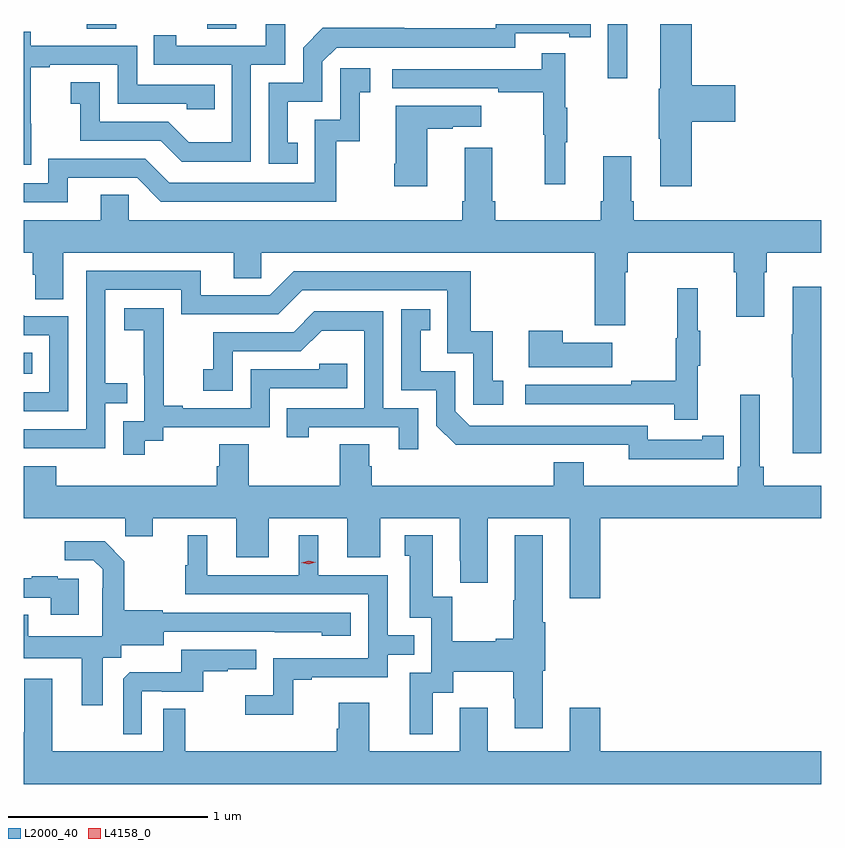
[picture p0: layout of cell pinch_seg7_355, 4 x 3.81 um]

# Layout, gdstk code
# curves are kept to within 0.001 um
import gdstk
lib = gdstk.Library(unit=1e-6, precision=1e-09)
def R(c, l, rs):  # rectangles x0, y0, x1, y1
    for r in rs: c.add(gdstk.rectangle(r[:2], r[2:], *l))
def P(c, l, *ps):  # polygons
    for p in ps: c.add(gdstk.Polygon(p, *l))
L2000_40 = (2000, 40)
L4158_0 = (4158, 0)

pinch_seg7_355 = lib.new_cell('pinch_seg7_355')
R(pinch_seg7_355, L2000_40, [(382.37,1037.306,382.412,1037.41), (385.299,1038.789,385.396,1039.06), (382.685,1039.036,382.833,1039.06), (383.29,1039.036,383.437,1039.06)])
P(pinch_seg7_355, L2000_40, [(383.744,1038.465),(383.695,1038.465),(383.695,1038.669),(383.868,1038.669),(383.868,1038.87),(383.94,1038.942),(384.834,1038.942),(384.834,1039.014),(385.106,1039.014),(385.106,1038.994),(385.214,1038.994),(385.214,1039.06),(384.738,1039.06),(384.738,1039.038),(384.278,1039.038),(384.278,1039.04),(383.87,1039.04),(383.772,1038.942),(383.772,1038.765),(383.598,1038.765),(383.598,1038.36),(383.744,1038.36)],
  [(385.721,1038.569),(385.939,1038.569),(385.939,1038.752),(385.721,1038.752),(385.721,1039.06),(385.562,1039.06),(385.562,1038.735),(385.555,1038.735),(385.555,1038.485),(385.562,1038.485),(385.562,1038.246),(385.721,1038.246)],
  [(383.508,1038.855),(383.682,1038.855),(383.682,1039.06),(383.585,1039.06),(383.585,1038.951),(383.134,1038.951),(383.134,1039.003),(383.023,1039.003),(383.023,1038.855),(383.412,1038.855),(383.412,1038.466),(383.198,1038.466),(383.094,1038.57),(382.752,1038.57),(382.752,1038.769),(382.605,1038.769),(382.605,1038.659),(382.654,1038.659),(382.654,1038.474),(383.057,1038.474),(383.162,1038.369),(383.508,1038.369)],
  [(382.407,1038.559),(382.406,1038.559),(382.406,1038.843),(382.501,1038.843),(382.501,1038.855),(382.842,1038.855),(382.842,1038.66),(383.187,1038.66),(383.187,1038.633),(383.327,1038.633),(383.327,1038.756),(382.938,1038.756),(382.938,1038.951),(382.404,1038.951),(382.404,1039.02),(382.37,1039.02),(382.37,1038.353),(382.407,1038.353)],
  [(385.085,1038.467),(385.096,1038.467),(385.096,1038.641),(385.085,1038.641),(385.085,1038.913),(384.967,1038.913),(384.967,1038.834),(384.219,1038.834),(384.219,1038.738),(384.751,1038.738),(384.751,1038.718),(384.975,1038.718),(384.975,1038.504),(384.982,1038.504),(384.982,1038.255),(385.085,1038.255)],
  [(382.591,1038.288),(382.938,1038.288),(383.058,1038.168),(383.938,1038.168),(383.938,1038.471),(384.056,1038.471),(384.056,1038.717),(384.109,1038.717),(384.109,1038.838),(383.958,1038.838),(383.958,1038.579),(383.829,1038.579),(383.829,1038.264),(383.1,1038.264),(382.98,1038.384),(382.494,1038.384),(382.494,1038.261),(382.37,1038.261),(382.37,1038.165),(382.591,1038.165)],
  [(384.394,1038.535),(384.521,1038.535),(384.521,1038.545),(384.664,1038.545),(384.664,1038.649),(384.236,1038.649),(384.236,1038.358),(384.229,1038.358),(384.229,1038.246),(384.394,1038.246)],
  [(385.387,1037.816),(385.4,1037.816),(385.4,1037.912),(385.931,1037.912),(385.931,1037.816),(385.943,1037.816),(385.943,1037.592),(386.083,1037.592),(386.083,1037.816),(386.096,1037.816),(386.096,1037.912),(386.37,1037.912),(386.37,1038.076),(385.43,1038.076),(385.43,1038.172),(385.417,1038.172),(385.417,1038.397),(385.277,1038.397),(385.277,1038.172),(385.265,1038.172),(385.265,1038.076),(384.734,1038.076),(384.734,1038.172),(384.721,1038.172),(384.721,1038.439),(384.581,1038.439),(384.581,1038.172),(384.569,1038.172),(384.569,1038.076),(382.896,1038.076),(382.896,1038.203),(382.757,1038.203),(382.757,1038.076),(382.37,1038.076),(382.37,1037.912),(382.415,1037.912),(382.415,1037.803),(382.428,1037.803),(382.428,1037.68),(382.567,1037.68),(382.567,1037.912),(383.423,1037.912),(383.423,1037.785),(383.562,1037.785),(383.562,1037.912),(385.235,1037.912),(385.235,1037.55),(385.387,1037.55)],
  [(382.779,1037.157),(382.889,1037.157),(382.889,1037.258),(382.779,1037.258),(382.779,1037.727),(383.16,1037.727),(383.16,1037.604),(383.646,1037.604),(383.766,1037.724),(384.495,1037.724),(384.495,1037.409),(384.624,1037.409),(384.624,1037.151),(384.775,1037.151),(384.775,1037.271),(384.722,1037.271),(384.722,1037.518),(384.611,1037.518),(384.611,1037.82),(383.724,1037.82),(383.604,1037.7),(383.257,1037.7),(383.257,1037.823),(382.683,1037.823),(382.683,1037.028),(382.37,1037.028),(382.37,1036.932),(382.779,1036.932)],
  [(386.37,1037.743),(386.228,1037.743),(386.228,1037.504),(386.221,1037.504),(386.221,1037.287),(386.228,1037.287),(386.228,1036.908),(386.37,1036.908)],
  [(385.751,1037.347),(385.762,1037.347),(385.762,1037.521),(385.751,1037.521),(385.751,1037.734),(385.648,1037.734),(385.648,1037.484),(385.641,1037.484),(385.641,1037.27),(385.417,1037.27),(385.417,1037.25),(384.885,1037.25),(384.885,1037.154),(385.633,1037.154),(385.633,1037.076),(385.751,1037.076)],
  [(382.978,1036.969),(383.07,1036.969),(383.07,1037.037),(383.604,1037.037),(383.604,1037.232),(383.993,1037.232),(383.993,1037.355),(383.853,1037.355),(383.853,1037.328),(383.508,1037.328),(383.508,1037.133),(383.167,1037.133),(383.167,1037.146),(383.072,1037.146),(383.072,1037.429),(383.073,1037.429),(383.073,1037.635),(382.875,1037.635),(382.875,1037.525),(382.973,1037.525),(382.973,1037.297),(382.974,1037.297),(382.974,1037.067),(382.869,1037.067),(382.869,1036.899),(382.978,1036.899)],
  [(385.772,1036.878),(385.88,1036.878),(385.88,1036.994),(385.772,1036.994),(385.772,1036.974),(385.5,1036.974),(385.5,1037.046),(384.606,1037.046),(384.534,1037.118),(384.534,1037.319),(384.361,1037.319),(384.361,1037.523),(384.41,1037.523),(384.41,1037.629),(384.264,1037.629),(384.264,1037.223),(384.438,1037.223),(384.438,1037.046),(384.536,1036.949),(385.404,1036.95),(385.404,1036.877)],
  [(384.348,1037.133),(384.174,1037.133),(384.174,1037.619),(383.828,1037.619),(383.723,1037.514),(383.32,1037.514),(383.32,1037.329),(383.271,1037.329),(383.271,1037.22),(383.418,1037.22),(383.418,1037.418),(383.76,1037.418),(383.864,1037.522),(384.078,1037.522),(384.078,1037.133),(383.689,1037.133),(383.689,1036.986),(383.8,1036.986),(383.8,1037.037),(384.251,1037.037),(384.251,1036.926),(384.348,1036.926)],
  [(382.593,1037.595),(382.374,1037.595),(382.37,1037.599),(382.37,1037.499),(382.497,1037.499),(382.497,1037.214),(382.37,1037.214),(382.37,1037.118),(382.593,1037.118)],
  [(385.321,1037.461),(385.073,1037.461),(385.073,1037.521),(384.902,1037.521),(384.902,1037.339),(385.321,1037.339)],
  [(383.435,1036.386),(383.599,1036.386),(383.599,1036.58),(383.993,1036.58),(383.993,1036.386),(384.157,1036.386),(384.157,1036.58),(384.557,1036.58),(384.557,1036.369),(384.56,1036.369),(384.56,1036.257),(384.697,1036.257),(384.697,1036.58),(385.109,1036.58),(385.109,1036.179),(385.262,1036.179),(385.262,1036.58),(386.37,1036.58),(386.37,1036.744),(386.081,1036.744),(386.081,1036.84),(386.062,1036.84),(386.062,1037.2),(385.965,1037.2),(385.965,1036.84),(385.952,1036.84),(385.952,1036.744),(385.18,1036.744),(385.18,1036.861),(385.028,1036.861),(385.028,1036.744),(384.116,1036.744),(384.116,1036.842),(384.103,1036.842),(384.103,1036.952),(383.956,1036.952),(383.956,1036.744),(383.499,1036.744),(383.499,1036.952),(383.351,1036.952),(383.351,1036.842),(383.339,1036.842),(383.339,1036.744),(382.532,1036.744),(382.532,1036.843),(382.37,1036.843),(382.37,1036.58),(382.879,1036.58),(382.879,1036.49),(383.017,1036.49),(383.017,1036.58),(383.435,1036.58)],
  [(384.421,1035.706),(384.523,1035.706),(384.523,1035.812),(384.826,1035.812),(384.826,1035.678),(384.833,1035.678),(384.833,1035.528),(384.973,1035.528),(384.973,1035.816),(384.986,1035.816),(384.986,1036.06),(384.973,1036.06),(384.973,1036.495),(384.833,1036.495),(384.833,1036.169),(384.826,1036.169),(384.826,1035.977),(384.737,1035.977),(384.737,1035.964),(384.519,1035.964),(384.519,1036.187),(384.421,1036.187),(384.421,1036.495),(384.281,1036.495),(384.281,1036.392),(384.305,1036.392),(384.305,1036.083),(384.414,1036.083),(384.414,1035.807),(384.305,1035.807),(384.305,1035.498),(384.421,1035.498)],
  [(383.721,1035.771),(383.815,1035.771),(383.815,1035.783),(384.195,1035.783),(384.195,1035.897),(384.329,1035.897),(384.329,1035.993),(384.195,1035.993),(384.195,1036.296),(383.848,1036.296),(383.848,1036.495),(383.75,1036.495),(383.75,1036.296),(383.29,1036.296),(383.29,1036.495),(383.192,1036.495),(383.192,1036.344),(383.181,1036.344),(383.181,1036.2),(384.099,1036.2),(384.099,1035.879),(383.622,1035.879),(383.622,1035.694),(383.481,1035.694),(383.481,1035.596),(383.721,1035.596)],
  [(382.765,1035.88),(382.86,1035.88),(382.86,1035.944),(383.071,1035.944),(383.071,1036.011),(383.865,1036.01),(383.865,1035.992),(384.01,1035.992),(384.01,1036.107),(383.067,1036.107),(383.067,1036.12),(382.875,1036.12),(382.875,1036.365),(382.775,1036.465),(382.575,1036.465),(382.575,1036.371),(382.719,1036.371),(382.766,1036.324),(382.766,1036.229),(382.764,1036.229),(382.764,1035.988),(382.393,1035.988),(382.393,1036.097),(382.37,1036.097),(382.37,1035.878),(382.661,1035.878),(382.661,1035.642),(382.765,1035.642)],
  [(382.645,1036.278),(382.541,1036.278),(382.541,1036.291),(382.409,1036.291),(382.409,1036.28),(382.37,1036.28),(382.37,1036.182),(382.505,1036.182),(382.505,1036.098),(382.645,1036.098)],
  [(382.962,1035.714),(383.062,1035.714),(383.062,1035.711),(383.27,1035.711),(383.27,1035.813),(383.393,1035.813),(383.393,1035.824),(383.537,1035.824),(383.537,1035.921),(383.16,1035.921),(383.16,1035.809),(382.901,1035.809),(382.869,1035.777),(382.869,1035.497),(382.962,1035.497)],
  [(386.37,1035.412),(385.262,1035.412),(385.262,1035.631),(385.109,1035.631),(385.109,1035.412),(384.697,1035.412),(384.697,1035.631),(384.557,1035.631),(384.557,1035.412),(384.103,1035.412),(384.103,1035.655),(383.951,1035.655),(383.951,1035.525),(383.939,1035.525),(383.939,1035.412),(383.179,1035.412),(383.179,1035.626),(383.07,1035.626),(383.07,1035.412),(382.513,1035.412),(382.513,1035.775),(382.373,1035.775),(382.373,1035.508),(382.37,1035.508),(382.37,1035.248),(386.37,1035.248)])
P(pinch_seg7_355, L4158_0, [(383.799,1036.349),(383.763,1036.358),(383.763,1036.358),(383.763,1036.358),(383.799,1036.369),(383.835,1036.36),(383.835,1036.36),(383.835,1036.36)])

lib.write_gds('pinch_seg7_355.gds')
